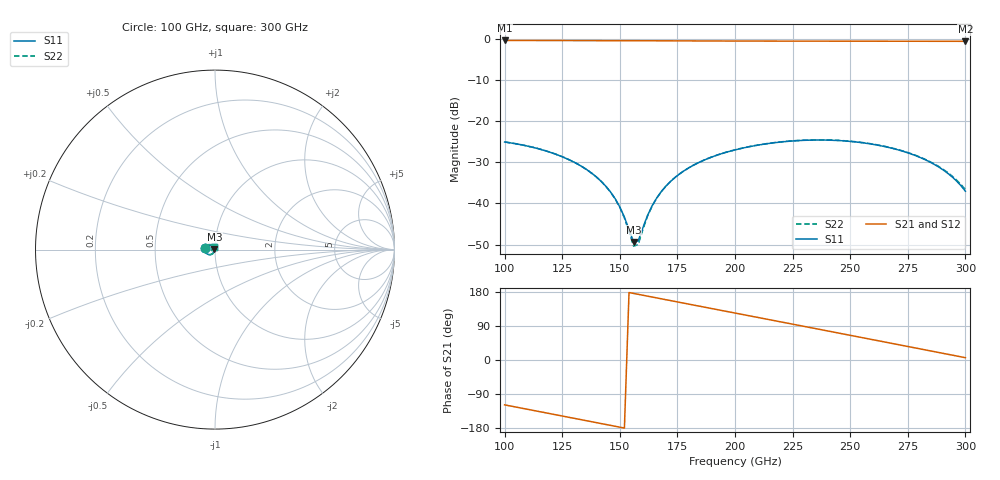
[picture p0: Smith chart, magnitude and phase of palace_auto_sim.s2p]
#  GHZ S DB R 50
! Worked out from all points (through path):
!   101 points, 100 GHz to 300 GHz, reference 50 ohm
!   highest |S21| = -0.36 dB at 100 GHz (marker M1); lowest = -0.6 dB at 300 GHz (marker M2)
!   group delay of S21, straight-line fit = 3.27 ps
!   lowest |S11| = -49.4 dB at 156 GHz (marker M3), VSWR 1.01, Z = 49.7 + j0.0834 ohm
!   |S11| at or under -10 dB: start of sweep to end of sweep
!   |S22| runs from -50.4 to -24.5 dB; largest |S21 - S12| = 1.1e-14
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100  -25.06 168.6  -0.36 -118.4  -0.36 -118.4  -25.04 169.0
120  -27.60 144.0  -0.38 -141.9  -0.38 -141.9  -27.58 144.5
134  -31.19 128.5  -0.39 -158.4  -0.39 -158.4  -31.18 128.8
142  -34.68 121.7  -0.40 -167.8  -0.40 -167.8  -34.68 121.6
148  -38.86 120.5  -0.41 -174.9  -0.41 -174.9  -38.92 119.7
152  -43.32 127.2  -0.41 -179.6  -0.41 -179.6  -43.53 125.3
156  -49.38 165.7  -0.42 175.6  -0.42 175.6  -50.39 164.6
158  -49.06 -155.0  -0.42 173.3  -0.42 173.3  -49.99 -150.7
162  -42.97 -120.7  -0.43 168.6  -0.43 168.6  -43.15 -116.4
164  -40.59 -116.4  -0.43 166.2  -0.43 166.2  -40.69 -112.7
168  -37.12 -114.5  -0.44 161.5  -0.44 161.5  -37.15 -111.6
174  -33.67 -117.5  -0.45 154.4  -0.45 154.4  -33.67 -115.0
180  -31.32 -122.7  -0.46 147.4  -0.46 147.4  -31.31 -120.3
200  -26.98 -142.9  -0.50 123.9  -0.50 123.9  -26.96 -140.7
218  -25.18 -162.0  -0.51 102.8  -0.51 102.8  -25.14 -159.6
234  -24.59 -179.6  -0.52 84.0  -0.52 84.0  -24.55 -177.0
250  -24.91 162.3  -0.53 65.2  -0.53 65.2  -24.86 165.2
268  -26.56 141.9  -0.54 43.9  -0.54 43.9  -26.49 145.5
278  -28.29 130.8  -0.55 32.1  -0.55 32.1  -28.21 135.1
288  -31.00 120.4  -0.56 20.3  -0.56 20.3  -30.87 126.0
294  -33.42 115.0  -0.56 13.2  -0.56 13.2  -33.23 122.0
300  -37.01 111.6  -0.57 6.1  -0.57 6.1  -36.63 121.3
